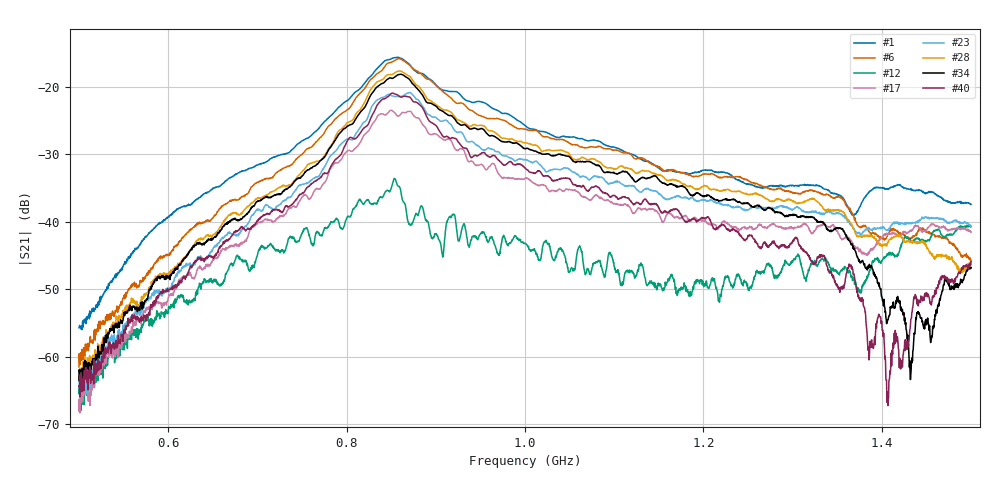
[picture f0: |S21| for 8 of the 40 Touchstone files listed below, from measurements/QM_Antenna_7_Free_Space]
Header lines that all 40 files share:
!Keysight Technologies,N5242B,MY48420860,A.13.80.08
!Correction: S11(Full 2 Port(1,2))
!S21(Full 2 Port(1,2))
!S12(Full 2 Port(1,2))
!S22(Full 2 Port(1,2))
!S2P File: Measurements: S11, S21, S12, S22:
# Hz S  dB  R 50
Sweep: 500 MHz to 1.5 GHz
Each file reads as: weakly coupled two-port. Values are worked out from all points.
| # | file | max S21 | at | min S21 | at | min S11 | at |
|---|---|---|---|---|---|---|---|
| 1 | 0_1.s2p | -15.65 dB | 857.1 MHz | -56.0 dB | 503.4 MHz | -34.8 dB | 866.6 MHz |
| 2 | 0_2.s2p | -14.59 dB | 857.9 MHz | -56.8 dB | 500.4 MHz | -66.2 dB | 908.8 MHz |
| 3 | 0_3.s2p | -15.12 dB | 857.5 MHz | -57.6 dB | 501.9 MHz | -40.1 dB | 898.6 MHz |
| 4 | 0_4.s2p | -13.95 dB | 859 MHz | -59.4 dB | 500.4 MHz | -37.2 dB | 1.09 GHz |
| 5 | 0_5.s2p | -15.43 dB | 860.1 MHz | -60.9 dB | 500.4 MHz | -45.9 dB | 1.003 GHz |
| 6 | 0_6.s2p | -15.85 dB | 858.2 MHz | -61.5 dB | 500 MHz | -51.6 dB | 1.062 GHz |
| 7 | 0_7.s2p | -16.63 dB | 847.7 MHz | -63.7 dB | 502.3 MHz | -54.6 dB | 1.146 GHz |
| 8 | 0_8.s2p | -17.17 dB | 854.1 MHz | -63.1 dB | 506.8 MHz | -44.7 dB | 1.063 GHz |
| 9 | 0_9.s2p | -17.35 dB | 859.8 MHz | -63.2 dB | 500 MHz | -35.5 dB | 1.001 GHz |
| 10 | 0_10.s2p | -18.12 dB | 860.9 MHz | -65.7 dB | 500 MHz | -44.9 dB | 1.033 GHz |
| 11 | 0_11.s2p | -19.71 dB | 847.3 MHz | -66.9 dB | 501.5 MHz | -55.4 dB | 1.139 GHz |
| 12 | 1_1.s2p | -33.62 dB | 853.3 MHz | -68.0 dB | 502.3 MHz | -45.9 dB | 1.074 GHz |
| 13 | 1_2.s2p | -25.69 dB | 845 MHz | -65.3 dB | 500.8 MHz | -39.2 dB | 1.106 GHz |
| 14 | 1_3.s2p | -21.74 dB | 845.4 MHz | -64.4 dB | 500.8 MHz | -47.6 dB | 905.1 MHz |
| 15 | 1_4.s2p | -22.25 dB | 843.5 MHz | -65.9 dB | 500 MHz | -52.3 dB | 1.152 GHz |
| 16 | 1_5.s2p | -21.42 dB | 845 MHz | -67.0 dB | 500.8 MHz | -49.9 dB | 906.2 MHz |
| 17 | 1_6.s2p | -23.49 dB | 849.2 MHz | -68.4 dB | 501.1 MHz | -51.2 dB | 1.153 GHz |
| 18 | 2_1.s2p | -20.34 dB | 857.5 MHz | -58.4 dB | 501.9 MHz | -49.8 dB | 1.14 GHz |
| 19 | 2_2.s2p | -17.28 dB | 860.5 MHz | -59.2 dB | 500.4 MHz | -51.5 dB | 885.4 MHz |
| 20 | 2_3.s2p | -17.11 dB | 862.4 MHz | -60.8 dB | 500 MHz | -41.9 dB | 886.2 MHz |
| 21 | 2_4.s2p | -18.44 dB | 845.4 MHz | -62.9 dB | 501.1 MHz | -58.1 dB | 901.7 MHz |
| 22 | 2_5.s2p | -19.26 dB | 863.2 MHz | -64.9 dB | 504.2 MHz | -44.8 dB | 1.096 GHz |
| 23 | 2_6.s2p | -20.88 dB | 871.1 MHz | -66.1 dB | 501.1 MHz | -39.4 dB | 1.14 GHz |
| 24 | 3_1.s2p | -13.83 dB | 856.7 MHz | -54.8 dB | 500.4 MHz | -39.0 dB | 1.033 GHz |
| 25 | 3_2.s2p | -14.34 dB | 857.1 MHz | -57.2 dB | 501.1 MHz | -46.1 dB | 1.03 GHz |
| 26 | 3_3.s2p | -15.41 dB | 860.1 MHz | -60.2 dB | 500.4 MHz | -48.0 dB | 890.7 MHz |
| 27 | 3_4.s2p | -16.74 dB | 847.7 MHz | -61.9 dB | 501.9 MHz | -44.1 dB | 1.177 GHz |
| 28 | 3_5.s2p | -17.67 dB | 860.1 MHz | -63.3 dB | 502.3 MHz | -37.8 dB | 1.124 GHz |
| 29 | 3_6.s2p | -19.48 dB | 862 MHz | -65.0 dB | 500.8 MHz | -45.7 dB | 1.135 GHz |
| 30 | 4_1.s2p | -17.93 dB | 853.7 MHz | -59.7 dB | 500.4 MHz | -36.1 dB | 865 MHz |
| 31 | 4_2.s2p | -16.15 dB | 860.5 MHz | -59.6 dB | 503.4 MHz | -38.3 dB | 902.4 MHz |
| 32 | 4_3.s2p | -17.44 dB | 861.6 MHz | -65.9 dB | 1.398 GHz | -42.5 dB | 903.9 MHz |
| 33 | 4_4.s2p | -17.88 dB | 848.4 MHz | -63.3 dB | 500.4 MHz | -59.9 dB | 896.4 MHz |
| 34 | 4_5.s2p | -18.16 dB | 860.9 MHz | -64.1 dB | 501.5 MHz | -38.8 dB | 1.003 GHz |
| 35 | 4_6.s2p | -20.06 dB | 864.7 MHz | -66.9 dB | 1.435 GHz | -45.4 dB | 1.14 GHz |
| 36 | 5_1.s2p | -29.53 dB | 848.8 MHz | -75.3 dB | 1.286 GHz | -49.3 dB | 1.104 GHz |
| 37 | 5_2.s2p | -22.67 dB | 849.9 MHz | -68.4 dB | 1.352 GHz | -50.1 dB | 1.107 GHz |
| 38 | 5_3.s2p | -21.87 dB | 850.3 MHz | -77.1 dB | 1.387 GHz | -48.1 dB | 1.181 GHz |
| 39 | 5_4.s2p | -21.46 dB | 851.1 MHz | -79.8 dB | 1.391 GHz | -50.2 dB | 943.6 MHz |
| 40 | 5_5.s2p | -20.96 dB | 851.8 MHz | -67.3 dB | 1.407 GHz | -46.5 dB | 1.103 GHz |
